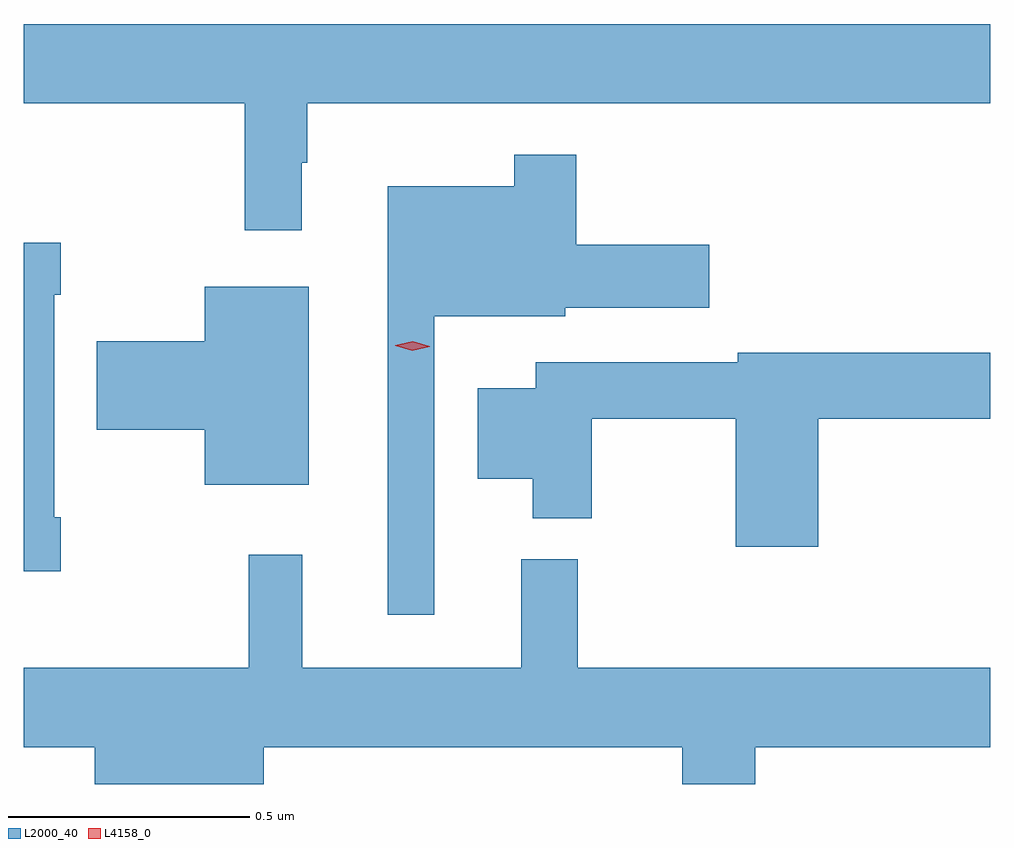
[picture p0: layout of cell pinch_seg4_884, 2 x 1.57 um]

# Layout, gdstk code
import gdstk
lib = gdstk.Library(unit=1e-6, precision=1e-09)
def P(c, l, *ps):  # polygons
    for p in ps: c.add(gdstk.Polygon(p, *l))
L2000_40 = (2000, 40)
L4158_0 = (4158, 0)

pinch_seg4_884 = lib.new_cell('pinch_seg4_884')
P(pinch_seg4_884, L2000_40, [(844.654,804.689),(844.666,804.689),(844.666,804.812),(846.079,804.812),(846.079,804.976),(844.079,804.976),(844.079,804.812),(844.537,804.812),(844.537,804.549),(844.654,804.549)],
  [(844.929,804.371),(845.199,804.371),(845.199,804.389),(845.497,804.389),(845.497,804.519),(845.222,804.519),(845.222,804.706),(845.094,804.706),(845.094,804.64),(844.832,804.64),(844.832,803.754),(844.929,803.754)],
  [(844.156,803.956),(844.143,803.956),(844.143,804.416),(844.156,804.416),(844.156,804.524),(844.079,804.524),(844.079,803.844),(844.156,803.844)],
  [(844.669,804.433),(844.454,804.433),(844.454,804.32),(844.23,804.32),(844.23,804.137),(844.454,804.137),(844.454,804.023),(844.669,804.023)],
  [(845.723,804.16),(846.079,804.16),(846.079,804.296),(845.556,804.296),(845.556,804.276),(845.138,804.276),(845.138,804.223),(845.018,804.223),(845.018,804.035),(845.132,804.035),(845.132,803.954),(845.254,803.954),(845.254,804.16),(845.552,804.16),(845.552,803.895),(845.723,803.895)],
  [(844.576,803.48),(845.441,803.48),(845.441,803.404),(845.593,803.404),(845.593,803.48),(846.079,803.48),(846.079,803.644),(845.225,803.644),(845.225,803.869),(845.108,803.869),(845.108,803.644),(844.655,803.644),(844.655,803.878),(844.545,803.878),(844.545,803.644),(844.079,803.644),(844.079,803.48),(844.226,803.48),(844.226,803.404),(844.576,803.404)])
P(pinch_seg4_884, L4158_0, [(844.883,804.3),(844.848,804.311),(844.848,804.312),(844.848,804.312),(844.884,804.32),(844.919,804.309),(844.919,804.308),(844.919,804.308)])

lib.write_gds('pinch_seg4_884.gds')
